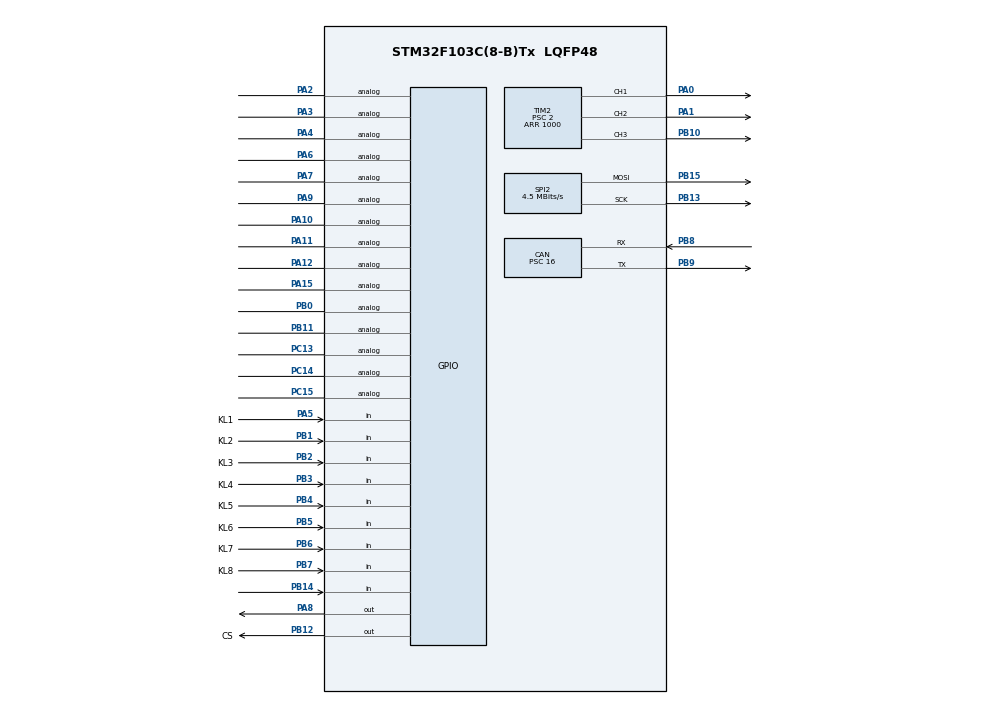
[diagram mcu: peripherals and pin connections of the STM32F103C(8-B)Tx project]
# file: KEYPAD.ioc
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CAN.ABOM=ENABLE
CAN.BS1=CAN_BS1_12TQ
CAN.BS2=CAN_BS2_5TQ
CAN.CalculateBaudRate=125000
CAN.CalculateTimeBit=8000
CAN.CalculateTimeQuantum=444.44444444444446
CAN.Mode=CAN_MODE_NORMAL
CAN.Prescaler=16
CAN.SJW=CAN_SJW_4TQ
FREERTOS.Events01=xResetEvent,Static,cResetEventControlBlock
FREERTOS.Tasks01=defaultTask,24,128,StartDefaultTask,Default,NULL,Static,defaultTaskBuffer,defaultTaskControlBlock;KeyboardTask,24,128,vKeyboardTask,As external,NULL,Static,KeyboardTaskBuffer,KeyboardTaskControlBlock;ProcessTask,40,128,vProcessTask,As external,NULL,Static,ProcessTaskBuffer,ProcessTaskControlBlock;CanOpenPeriodic,24,256,vCanOpenPeriodicProcess,As external,NULL,Static,CanOpenPeriodicBuffer,CanOpenPeriodicControlBlock;CanOpenProcess,25,700,vCanOpenProcess,As external,NULL,Static,CanOpenProcessBuffer,CanOpenProcessControlBlock
FREERTOS.configTOTAL_HEAP_SIZE=1000
FREERTOS.configUSE_NEWLIB_REENTRANT=1
IWDG.Prescaler=IWDG_PRESCALER_64
Mcu.Family=STM32F1
Mcu.Name=STM32F103C(8-B)Tx
Mcu.Package=LQFP48
NVIC.CAN1_RX1_IRQn=true\:5\:0\:false\:false\:true\:true\:true\:true\:true
NVIC.CAN1_SCE_IRQn=true\:5\:0\:false\:false\:true\:true\:true\:true\:true
NVIC.PriorityGroup=NVIC_PRIORITYGROUP_4
NVIC.TIM1_UP_IRQn=true\:15\:0\:false\:false\:true\:false\:false\:true\:true
NVIC.TIM3_IRQn=true\:5\:0\:false\:false\:true\:true\:true\:true\:true
NVIC.TIM4_IRQn=true\:5\:0\:false\:false\:true\:true\:true\:true\:true
NVIC.TimeBase=TIM1_UP_IRQn
NVIC.TimeBaseIP=TIM1
NVIC.USB_HP_CAN1_TX_IRQn=true\:5\:0\:false\:false\:true\:true\:true\:true\:true
NVIC.USB_LP_CAN1_RX0_IRQn=true\:5\:0\:false\:false\:true\:true\:true\:true\:true
PA0-WKUP.Signal=S_TIM2_CH1_ETR
PA1.Signal=S_TIM2_CH2
PA10.Signal=GPIO_Analog
PA11.Signal=GPIO_Analog
PA12.Signal=GPIO_Analog
PA13.Mode=Serial_Wire
PA13.Signal=SYS_JTMS-SWDIO
PA14.Mode=Serial_Wire
PA14.Signal=SYS_JTCK-SWCLK
PA15.Signal=GPIO_Analog
PA2.Signal=GPIO_Analog
PA3.Signal=GPIO_Analog
PA4.Signal=GPIO_Analog
PA5.GPIO_Label=KL1
PA5.Signal=GPIO_Input
PA6.Signal=GPIO_Analog
PA7.Signal=GPIO_Analog
PA8.Signal=GPIO_Output
PA9.Signal=GPIO_Analog
PB0.Signal=GPIO_Analog
PB1.GPIO_Label=KL2
PB1.Signal=GPIO_Input
PB10.Signal=S_TIM2_CH3
PB11.Signal=GPIO_Analog
PB12.GPIO_Label=CS
PB12.Signal=GPIO_Output
PB13.Mode=TX_Only_Simplex_Unidirect_Master
PB13.Signal=SPI2_SCK
PB14.Signal=GPIO_Input
PB15.Mode=TX_Only_Simplex_Unidirect_Master
PB15.Signal=SPI2_MOSI
PB2.GPIO_Label=KL3
PB2.Signal=GPIO_Input
PB3.GPIO_Label=KL4
PB3.Signal=GPIO_Input
PB4.GPIO_Label=KL5
PB4.Signal=GPIO_Input
PB5.GPIO_Label=KL6
PB5.Signal=GPIO_Input
PB6.GPIO_Label=KL7
PB6.Signal=GPIO_Input
PB7.GPIO_Label=KL8
PB7.Signal=GPIO_Input
PB8.Mode=CAN_Activate
PB8.Signal=CAN_RX
PB9.Mode=CAN_Activate
PB9.Signal=CAN_TX
PC13-TAMPER-RTC.Signal=GPIO_Analog
PC14-OSC32_IN.Signal=GPIO_Analog
PC15-OSC32_OUT.Signal=GPIO_Analog
PD0-OSC_IN.Mode=HSE-External-Oscillator
PD0-OSC_IN.Signal=RCC_OSC_IN
PD1-OSC_OUT.Mode=HSE-External-Oscillator
PD1-OSC_OUT.Signal=RCC_OSC_OUT
ProjectManager.HeapSize=0x200
ProjectManager.StackSize=0x400
ProjectManager.TargetToolchain=STM32CubeIDE
RCC.AHBFreq_Value=72000000
RCC.APB1CLKDivider=RCC_HCLK_DIV2
RCC.APB1Freq_Value=36000000
RCC.APB1TimFreq_Value=72000000
RCC.APB2Freq_Value=72000000
RCC.APB2TimFreq_Value=72000000
RCC.HCLKFreq_Value=72000000
RCC.PLLMUL=RCC_PLL_MUL9
RCC.PLLSourceVirtual=RCC_PLLSOURCE_HSE
RCC.SYSCLKFreq_VALUE=72000000
RCC.SYSCLKSource=RCC_SYSCLKSOURCE_PLLCLK
RCC.USBFreq_Value=48000000
RCC.USBPrescaler=RCC_USBCLKSOURCE_PLL_DIV1_5
SH.S_TIM2_CH1_ETR.0=TIM2_CH1,PWM Generation1 CH1
SH.S_TIM2_CH2.0=TIM2_CH2,PWM Generation2 CH2
SH.S_TIM2_CH3.0=TIM2_CH3,PWM Generation3 CH3
SPI2.BaudRatePrescaler=SPI_BAUDRATEPRESCALER_8
SPI2.CLKPolarity=SPI_POLARITY_LOW
SPI2.CalculateBaudRate=4.5 MBits/s
SPI2.Direction=SPI_DIRECTION_2LINES
SPI2.Mode=SPI_MODE_MASTER
SPI2.VirtualType=VM_MASTER
TIM2.AutoReloadPreload=TIM_AUTORELOAD_PRELOAD_ENABLE
TIM2.Channel-PWM\ Generation1\ CH1=TIM_CHANNEL_1
TIM2.Channel-PWM\ Generation2\ CH2=TIM_CHANNEL_2
TIM2.Channel-PWM\ Generation3\ CH3=TIM_CHANNEL_3
TIM2.Channel-PWM\ Generation4\ No\ Output=TIM_CHANNEL_4
TIM2.OC4Preload_PWM=DISABLE
TIM2.OCFastMode_PWM-PWM\ Generation4\ No\ Output=TIM_OCFAST_ENABLE
TIM2.Period=1000
TIM2.Prescaler=2
TIM2.Pulse-PWM\ Generation1\ CH1=500
TIM2.Pulse-PWM\ Generation2\ CH2=500
TIM2.Pulse-PWM\ Generation3\ CH3=500
TIM3.AutoReloadPreload=TIM_AUTORELOAD_PRELOAD_ENABLE
TIM3.Period=1000
TIM3.Prescaler=2
TIM4.AutoReloadPreload=TIM_AUTORELOAD_PRELOAD_ENABLE
TIM4.Period=800
TIM4.Prescaler=2
VP_FREERTOS_VS_CMSIS_V2.Mode=CMSIS_V2
VP_IWDG_VS_IWDG.Mode=IWDG_Activate
VP_SYS_VS_tim1.Mode=TIM1
VP_TIM2_VS_ClockSourceINT.Mode=Internal
VP_TIM2_VS_no_output4.Mode=PWM Generation4 No Output
VP_TIM3_VS_ClockSourceINT.Mode=Internal
VP_TIM4_VS_ClockSourceINT.Mode=Internal
board=custom

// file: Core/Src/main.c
/* USER CODE BEGIN Header */
/**
  ******************************************************************************
  * @file           : main.c
  * @brief          : Main program body
  ******************************************************************************
  * @attention
  *
  * <h2><center>&copy; Copyright (c) 2021 STMicroelectronics.
  * All rights reserved.</center></h2>
  *
  * This software component is licensed by ST under Ultimate Liberty license
  * SLA0044, the "License"; You may not use this file except in compliance with
  * the License. You may obtain a copy of the License at:
  *                             www.st.com/SLA0044
  *
  ******************************************************************************
  */
/* USER CODE END Header */
#include "main.h"
#include "cmsis_os.h"

/* USER CODE BEGIN Includes */
#include "keyboard.h"
#include "process.h"
#include "canopennode.h"
#include "led.h"
#include "flash_data.h"
/* USER CODE END Includes */

typedef StaticTask_t osStaticThreadDef_t;
typedef StaticEventGroup_t osStaticEventGroupDef_t;

CAN_HandleTypeDef hcan;

TIM_HandleTypeDef htim2;
TIM_HandleTypeDef htim3;

/* Definitions for defaultTask */
osThreadId_t defaultTaskHandle;
uint32_t defaultTaskBuffer[ 128 ];
osStaticThreadDef_t defaultTaskControlBlock;
const osThreadAttr_t defaultTask_attributes = {
  .name = "defaultTask",
  .cb_mem = &defaultTaskControlBlock,
  .cb_size = sizeof(defaultTaskControlBlock),
  .stack_mem = &defaultTaskBuffer[0],
  .stack_size = sizeof(defaultTaskBuffer),
  .priority = (osPriority_t) osPriorityNormal,
};
/* Definitions for KeyboardTask */
osThreadId_t KeyboardTaskHandle;
uint32_t KeyboardTaskBuffer[ 128 ];
osStaticThreadDef_t KeyboardTaskControlBlock;
const osThreadAttr_t KeyboardTask_attributes = {
  .name = "KeyboardTask",
  .cb_mem = &KeyboardTaskControlBlock,
  .cb_size = sizeof(KeyboardTaskControlBlock),
  .stack_mem = &KeyboardTaskBuffer[0],
  .stack_size = sizeof(KeyboardTaskBuffer),
  .priority = (osPriority_t) osPriorityNormal,
};
/* Definitions for ProcessTask */
osThreadId_t ProcessTaskHandle;
uint32_t ProcessTaskBuffer[ 128 ];
osStaticThreadDef_t ProcessTaskControlBlock;
const osThreadAttr_t ProcessTask_attributes = {
  .name = "ProcessTask",
  .cb_mem = &ProcessTaskControlBlock,
  .cb_size = sizeof(ProcessTaskControlBlock),
  .stack_mem = &ProcessTaskBuffer[0],
  .stack_size = sizeof(ProcessTaskBuffer),
  .priority = (osPriority_t) osPriorityHigh,
};
/* Definitions for CanOpenPeriodic */
osThreadId_t CanOpenPeriodicHandle;
uint32_t CanOpenPeriodicBuffer[ 256 ];
osStaticThreadDef_t CanOpenPeriodicControlBlock;
const osThreadAttr_t CanOpenPeriodic_attributes = {
  .name = "CanOpenPeriodic",
  .cb_mem = &CanOpenPeriodicControlBlock,
  .cb_size = sizeof(CanOpenPeriodicControlBlock),
  .stack_mem = &CanOpenPeriodicBuffer[0],
  .stack_size = sizeof(CanOpenPeriodicBuffer),
  .priority = (osPriority_t) osPriorityNormal,
};
/* Definitions for CanOpenProcess */
osThreadId_t CanOpenProcessHandle;
uint32_t CanOpenProcessBuffer[ 700 ];
osStaticThreadDef_t CanOpenProcessControlBlock;
const osThreadAttr_t CanOpenProcess_attributes = {
  .name = "CanOpenProcess",
  .cb_mem = &CanOpenProcessControlBlock,
  .cb_size = sizeof(CanOpenProcessControlBlock),
  .stack_mem = &CanOpenProcessBuffer[0],
  .stack_size = sizeof(CanOpenProcessBuffer),
  .priority = (osPriority_t) osPriorityNormal1,
};
/* Definitions for xResetEvent */
osEventFlagsId_t xResetEventHandle;
osStaticEventGroupDef_t cResetEventControlBlock;
const osEventFlagsAttr_t xResetEvent_attributes = {
  .name = "xResetEvent",
  .cb_mem = &cResetEventControlBlock,
  .cb_size = sizeof(cResetEventControlBlock),
};

void SystemClock_Config(void);
static void MX_GPIO_Init(void);
static void MX_CAN_Init(void);
static void MX_SPI2_Init(void);
static void MX_TIM2_Init(void);
static void MX_TIM3_Init(void);
static void MX_IWDG_Init(void);
static void MX_TIM4_Init(void);
void StartDefaultTask(void *argument);
extern void vKeyboardTask(void *argument);
extern void vProcessTask(void *argument);
extern void vCanOpenPeriodicProcess(void *argument);
extern void vCanOpenProcess(void *argument);

int main(void)
{

  /* MCU Configuration--------------------------------------------------------*/

  /* Reset of all peripherals, Initializes the Flash interface and the Systick. */
  HAL_Init();

  /* Configure the system clock */
  SystemClock_Config();

  /* Initialize all configured peripherals */
  MX_GPIO_Init();
  MX_CAN_Init();
  MX_SPI2_Init();
  MX_TIM2_Init();
  MX_TIM3_Init();
  MX_IWDG_Init();
  MX_TIM4_Init();

  /* Init scheduler */
  osKernelInitialize();

  /* Create the thread(s) */
  /* creation of defaultTask */
  defaultTaskHandle = osThreadNew(StartDefaultTask, NULL, &defaultTask_attributes);

  /* creation of KeyboardTask */
  KeyboardTaskHandle = osThreadNew(vKeyboardTask, NULL, &KeyboardTask_attributes);

  /* creation of ProcessTask */
  ProcessTaskHandle = osThreadNew(vProcessTask, NULL, &ProcessTask_attributes);

  /* creation of CanOpenPeriodic */
  CanOpenPeriodicHandle = osThreadNew(vCanOpenPeriodicProcess, NULL, &CanOpenPeriodic_attributes);

  /* creation of CanOpenProcess */
  CanOpenProcessHandle = osThreadNew(vCanOpenProcess, NULL, &CanOpenProcess_attributes);

  /* USER CODE BEGIN RTOS_THREADS */

   vFDInit();
   vLedInit(&htim2);
   vSetupKeyboard();
   vProceesInit();
   vCanOpenInit(&hcan);
   vStartLed();

  /* USER CODE END RTOS_THREADS */

  /* Create the event(s) */
  /* creation of xResetEvent */
  xResetEventHandle = osEventFlagsNew(&xResetEvent_attributes);

  /* Start scheduler */
  osKernelStart();
  /* We should never get here as control is now taken by the scheduler */
  /* Infinite loop */
  while (1)
  {

  }
}

void SystemClock_Config(void)
{
  LL_FLASH_SetLatency(LL_FLASH_LATENCY_2);
  while(LL_FLASH_GetLatency()!= LL_FLASH_LATENCY_2)
  {
  }
  LL_RCC_HSE_Enable();

   /* Wait till HSE is ready */
  while(LL_RCC_HSE_IsReady() != 1)
  {

  }
  LL_RCC_LSI_Enable();

   /* Wait till LSI is ready */
  while(LL_RCC_LSI_IsReady() != 1)
  {

  }
  LL_RCC_PLL_ConfigDomain_SYS(LL_RCC_PLLSOURCE_HSE_DIV_1, LL_RCC_PLL_MUL_9);
  LL_RCC_PLL_Enable();

   /* Wait till PLL is ready */
  while(LL_RCC_PLL_IsReady() != 1)
  {

  }
  LL_RCC_SetAHBPrescaler(LL_RCC_SYSCLK_DIV_1);
  LL_RCC_SetAPB1Prescaler(LL_RCC_APB1_DIV_2);
  LL_RCC_SetAPB2Prescaler(LL_RCC_APB2_DIV_1);
  LL_RCC_SetSysClkSource(LL_RCC_SYS_CLKSOURCE_PLL);

   /* Wait till System clock is ready */
  while(LL_RCC_GetSysClkSource() != LL_RCC_SYS_CLKSOURCE_STATUS_PLL)
  {

  }
  LL_SetSystemCoreClock(72000000);

   /* Update the time base */
  if (HAL_InitTick (TICK_INT_PRIORITY) != HAL_OK)
  {
    Error_Handler();
  }
}

static void MX_CAN_Init(void)
{

  hcan.Instance = CAN1;
  hcan.Init.Prescaler = 16;
  hcan.Init.Mode = CAN_MODE_NORMAL;
  hcan.Init.SyncJumpWidth = CAN_SJW_4TQ;
  hcan.Init.TimeSeg1 = CAN_BS1_12TQ;
  hcan.Init.TimeSeg2 = CAN_BS2_5TQ;
  hcan.Init.TimeTriggeredMode = DISABLE;
  hcan.Init.AutoBusOff = ENABLE;
  hcan.Init.AutoWakeUp = DISABLE;
  hcan.Init.AutoRetransmission = DISABLE;
  hcan.Init.ReceiveFifoLocked = DISABLE;
  hcan.Init.TransmitFifoPriority = DISABLE;
  if (HAL_CAN_Init(&hcan) != HAL_OK)
  {
    Error_Handler();
  }

}

static void MX_IWDG_Init(void)
{

  LL_IWDG_Enable(IWDG);
  LL_IWDG_EnableWriteAccess(IWDG);
  LL_IWDG_SetPrescaler(IWDG, LL_IWDG_PRESCALER_64);
  LL_IWDG_SetReloadCounter(IWDG, 4095);
  while (LL_IWDG_IsReady(IWDG) != 1)
  {
  }

  LL_IWDG_ReloadCounter(IWDG);

}

static void MX_SPI2_Init(void)
{

  LL_SPI_InitTypeDef SPI_InitStruct = {0};

  LL_GPIO_InitTypeDef GPIO_InitStruct = {0};

  /* Peripheral clock enable */
  LL_APB1_GRP1_EnableClock(LL_APB1_GRP1_PERIPH_SPI2);

  LL_APB2_GRP1_EnableClock(LL_APB2_GRP1_PERIPH_GPIOB);
  /**SPI2 GPIO Configuration
  PB13   ------> SPI2_SCK
  PB15   ------> SPI2_MOSI
  */
  GPIO_InitStruct.Pin = LL_GPIO_PIN_13|LL_GPIO_PIN_15;
  GPIO_InitStruct.Mode = LL_GPIO_MODE_ALTERNATE;
  GPIO_InitStruct.Speed = LL_GPIO_SPEED_FREQ_HIGH;
  GPIO_InitStruct.OutputType = LL_GPIO_OUTPUT_PUSHPULL;
  LL_GPIO_Init(GPIOB, &GPIO_InitStruct);

  /* SPI2 parameter configuration*/
  SPI_InitStruct.TransferDirection = LL_SPI_FULL_DUPLEX;
  SPI_InitStruct.Mode = LL_SPI_MODE_MASTER;
  SPI_InitStruct.DataWidth = LL_SPI_DATAWIDTH_8BIT;
  SPI_InitStruct.ClockPolarity = LL_SPI_POLARITY_LOW;
  SPI_InitStruct.ClockPhase = LL_SPI_PHASE_1EDGE;
  SPI_InitStruct.NSS = LL_SPI_NSS_SOFT;
  SPI_InitStruct.BaudRate = LL_SPI_BAUDRATEPRESCALER_DIV8;
  SPI_InitStruct.BitOrder = LL_SPI_MSB_FIRST;
  SPI_InitStruct.CRCCalculation = LL_SPI_CRCCALCULATION_DISABLE;
  SPI_InitStruct.CRCPoly = 10;
  LL_SPI_Init(SPI2, &SPI_InitStruct);

}

static void MX_TIM2_Init(void)
{

  TIM_ClockConfigTypeDef sClockSourceConfig = {0};
  TIM_MasterConfigTypeDef sMasterConfig = {0};
  TIM_OC_InitTypeDef sConfigOC = {0};

  htim2.Instance = TIM2;
  htim2.Init.Prescaler = 2;
  htim2.Init.CounterMode = TIM_COUNTERMODE_UP;
  htim2.Init.Period = 1000;
  htim2.Init.ClockDivision = TIM_CLOCKDIVISION_DIV1;
  htim2.Init.AutoReloadPreload = TIM_AUTORELOAD_PRELOAD_ENABLE;
  if (HAL_TIM_Base_Init(&htim2) != HAL_OK)
  {
    Error_Handler();
  }
  sClockSourceConfig.ClockSource = TIM_CLOCKSOURCE_INTERNAL;
  if (HAL_TIM_ConfigClockSource(&htim2, &sClockSourceConfig) != HAL_OK)
  {
    Error_Handler();
  }
  if (HAL_TIM_PWM_Init(&htim2) != HAL_OK)
  {
    Error_Handler();
  }
  sMasterConfig.MasterOutputTrigger = TIM_TRGO_RESET;
  sMasterConfig.MasterSlaveMode = TIM_MASTERSLAVEMODE_DISABLE;
  if (HAL_TIMEx_MasterConfigSynchronization(&htim2, &sMasterConfig) != HAL_OK)
  {
    Error_Handler();
  }
  sConfigOC.OCMode = TIM_OCMODE_PWM1;
  sConfigOC.Pulse = 500;
  sConfigOC.OCPolarity = TIM_OCPOLARITY_HIGH;
  sConfigOC.OCFastMode = TIM_OCFAST_DISABLE;
  if (HAL_TIM_PWM_ConfigChannel(&htim2, &sConfigOC, TIM_CHANNEL_1) != HAL_OK)
  {
    Error_Handler();
  }
  if (HAL_TIM_PWM_ConfigChannel(&htim2, &sConfigOC, TIM_CHANNEL_2) != HAL_OK)
  {
    Error_Handler();
  }
  if (HAL_TIM_PWM_ConfigChannel(&htim2, &sConfigOC, TIM_CHANNEL_3) != HAL_OK)
  {
    Error_Handler();
  }
  sConfigOC.Pulse = 0;
  sConfigOC.OCFastMode = TIM_OCFAST_ENABLE;
  if (HAL_TIM_PWM_ConfigChannel(&htim2, &sConfigOC, TIM_CHANNEL_4) != HAL_OK)
  {
    Error_Handler();
  }
  __HAL_TIM_DISABLE_OCxPRELOAD(&htim2, TIM_CHANNEL_4);
  HAL_TIM_MspPostInit(&htim2);

}

static void MX_TIM3_Init(void)
{

  TIM_ClockConfigTypeDef sClockSourceConfig = {0};
  TIM_MasterConfigTypeDef sMasterConfig = {0};

  htim3.Instance = TIM3;
  htim3.Init.Prescaler = 2;
  htim3.Init.CounterMode = TIM_COUNTERMODE_UP;
  htim3.Init.Period = 1000;
  htim3.Init.ClockDivision = TIM_CLOCKDIVISION_DIV1;
  htim3.Init.AutoReloadPreload = TIM_AUTORELOAD_PRELOAD_ENABLE;
  if (HAL_TIM_Base_Init(&htim3) != HAL_OK)
  {
    Error_Handler();
  }
  sClockSourceConfig.ClockSource = TIM_CLOCKSOURCE_INTERNAL;
  if (HAL_TIM_ConfigClockSource(&htim3, &sClockSourceConfig) != HAL_OK)
  {
    Error_Handler();
  }
  sMasterConfig.MasterOutputTrigger = TIM_TRGO_RESET;
  sMasterConfig.MasterSlaveMode = TIM_MASTERSLAVEMODE_DISABLE;
  if (HAL_TIMEx_MasterConfigSynchronization(&htim3, &sMasterConfig) != HAL_OK)
  {
    Error_Handler();
  }

}

static void MX_TIM4_Init(void)
{

  LL_TIM_InitTypeDef TIM_InitStruct = {0};

  /* Peripheral clock enable */
  LL_APB1_GRP1_EnableClock(LL_APB1_GRP1_PERIPH_TIM4);

  /* TIM4 interrupt Init */
  NVIC_SetPriority(TIM4_IRQn, NVIC_EncodePriority(NVIC_GetPriorityGrouping(),5, 0));
  NVIC_EnableIRQ(TIM4_IRQn);

  TIM_InitStruct.Prescaler = 2;
  TIM_InitStruct.CounterMode = LL_TIM_COUNTERMODE_UP;
  TIM_InitStruct.Autoreload = 800;
  TIM_InitStruct.ClockDivision = LL_TIM_CLOCKDIVISION_DIV1;
  LL_TIM_Init(TIM4, &TIM_InitStruct);
  LL_TIM_EnableARRPreload(TIM4);
  LL_TIM_SetClockSource(TIM4, LL_TIM_CLOCKSOURCE_INTERNAL);
  LL_TIM_SetTriggerOutput(TIM4, LL_TIM_TRGO_RESET);
  LL_TIM_DisableMasterSlaveMode(TIM4);

}

static void MX_GPIO_Init(void)
{
  GPIO_InitTypeDef GPIO_InitStruct = {0};

  /* GPIO Ports Clock Enable */
  __HAL_RCC_GPIOC_CLK_ENABLE();
  __HAL_RCC_GPIOD_CLK_ENABLE();
  __HAL_RCC_GPIOA_CLK_ENABLE();
  __HAL_RCC_GPIOB_CLK_ENABLE();

  /*Configure GPIO pin Output Level */
  HAL_GPIO_WritePin(CS_GPIO_Port, CS_Pin, GPIO_PIN_RESET);

  /*Configure GPIO pin Output Level */
  HAL_GPIO_WritePin(GPIOA, GPIO_PIN_8, GPIO_PIN_RESET);

  /*Configure GPIO pins : PC13 PC14 PC15 */
  GPIO_InitStruct.Pin = GPIO_PIN_13|GPIO_PIN_14|GPIO_PIN_15;
  GPIO_InitStruct.Mode = GPIO_MODE_ANALOG;
  HAL_GPIO_Init(GPIOC, &GPIO_InitStruct);

  /*Configure GPIO pins : PA2 PA3 PA4 PA6
                           PA7 PA9 PA10 PA11
                           PA12 PA15 */
  GPIO_InitStruct.Pin = GPIO_PIN_2|GPIO_PIN_3|GPIO_PIN_4|GPIO_PIN_6
                          |GPIO_PIN_7|GPIO_PIN_9|GPIO_PIN_10|GPIO_PIN_11
                          |GPIO_PIN_12|GPIO_PIN_15;
  GPIO_InitStruct.Mode = GPIO_MODE_ANALOG;
  HAL_GPIO_Init(GPIOA, &GPIO_InitStruct);

  /*Configure GPIO pin : KL1_Pin */
  GPIO_InitStruct.Pin = KL1_Pin;
  GPIO_InitStruct.Mode = GPIO_MODE_INPUT;
  GPIO_InitStruct.Pull = GPIO_NOPULL;
  HAL_GPIO_Init(KL1_GPIO_Port, &GPIO_InitStruct);

  /*Configure GPIO pins : PB0 PB11 */
  GPIO_InitStruct.Pin = GPIO_PIN_0|GPIO_PIN_11;
  GPIO_InitStruct.Mode = GPIO_MODE_ANALOG;
  HAL_GPIO_Init(GPIOB, &GPIO_InitStruct);

  /*Configure GPIO pins : KL2_Pin KL3_Pin PB14 KL4_Pin
                           KL5_Pin KL6_Pin KL7_Pin KL8_Pin */
  GPIO_InitStruct.Pin = KL2_Pin|KL3_Pin|GPIO_PIN_14|KL4_Pin
                          |KL5_Pin|KL6_Pin|KL7_Pin|KL8_Pin;
  GPIO_InitStruct.Mode = GPIO_MODE_INPUT;
  GPIO_InitStruct.Pull = GPIO_NOPULL;
  HAL_GPIO_Init(GPIOB, &GPIO_InitStruct);

  /*Configure GPIO pin : CS_Pin */
  GPIO_InitStruct.Pin = CS_Pin;
  GPIO_InitStruct.Mode = GPIO_MODE_OUTPUT_PP;
  GPIO_InitStruct.Pull = GPIO_NOPULL;
  GPIO_InitStruct.Speed = GPIO_SPEED_FREQ_LOW;
  HAL_GPIO_Init(CS_GPIO_Port, &GPIO_InitStruct);

  /*Configure GPIO pin : PA8 */
  GPIO_InitStruct.Pin = GPIO_PIN_8;
  GPIO_InitStruct.Mode = GPIO_MODE_OUTPUT_PP;
  GPIO_InitStruct.Pull = GPIO_NOPULL;
  GPIO_InitStruct.Speed = GPIO_SPEED_FREQ_LOW;
  HAL_GPIO_Init(GPIOA, &GPIO_InitStruct);

}

/* USER CODE BEGIN 4 */
void vRestartNode()
{
	xEventGroupClearBitsFromISR(xResetEventHandle,RESTART_DISABLE);
}
/* USER CODE END 4 */

void StartDefaultTask(void *argument)
{
  /* USER CODE BEGIN 5 */
  /* Infinite loop */
  vLedDriverStart();
  xEventGroupSetBits( xResetEventHandle, RESTART_DISABLE);
  for(;;)
  {
	xEventGroupWaitBits(xResetEventHandle,RESTART_DISABLE,pdFALSE,pdFALSE,portMAX_DELAY );
    osDelay(500);
    LL_IWDG_ReloadCounter(IWDG);
  }
  /* USER CODE END 5 */
}

void HAL_TIM_PeriodElapsedCallback(TIM_HandleTypeDef *htim)
{
  if (htim->Instance == TIM1) {
    HAL_IncTick();
  }
}

void Error_Handler(void)
{
  __disable_irq();
  while (1)
  {
  }
}
